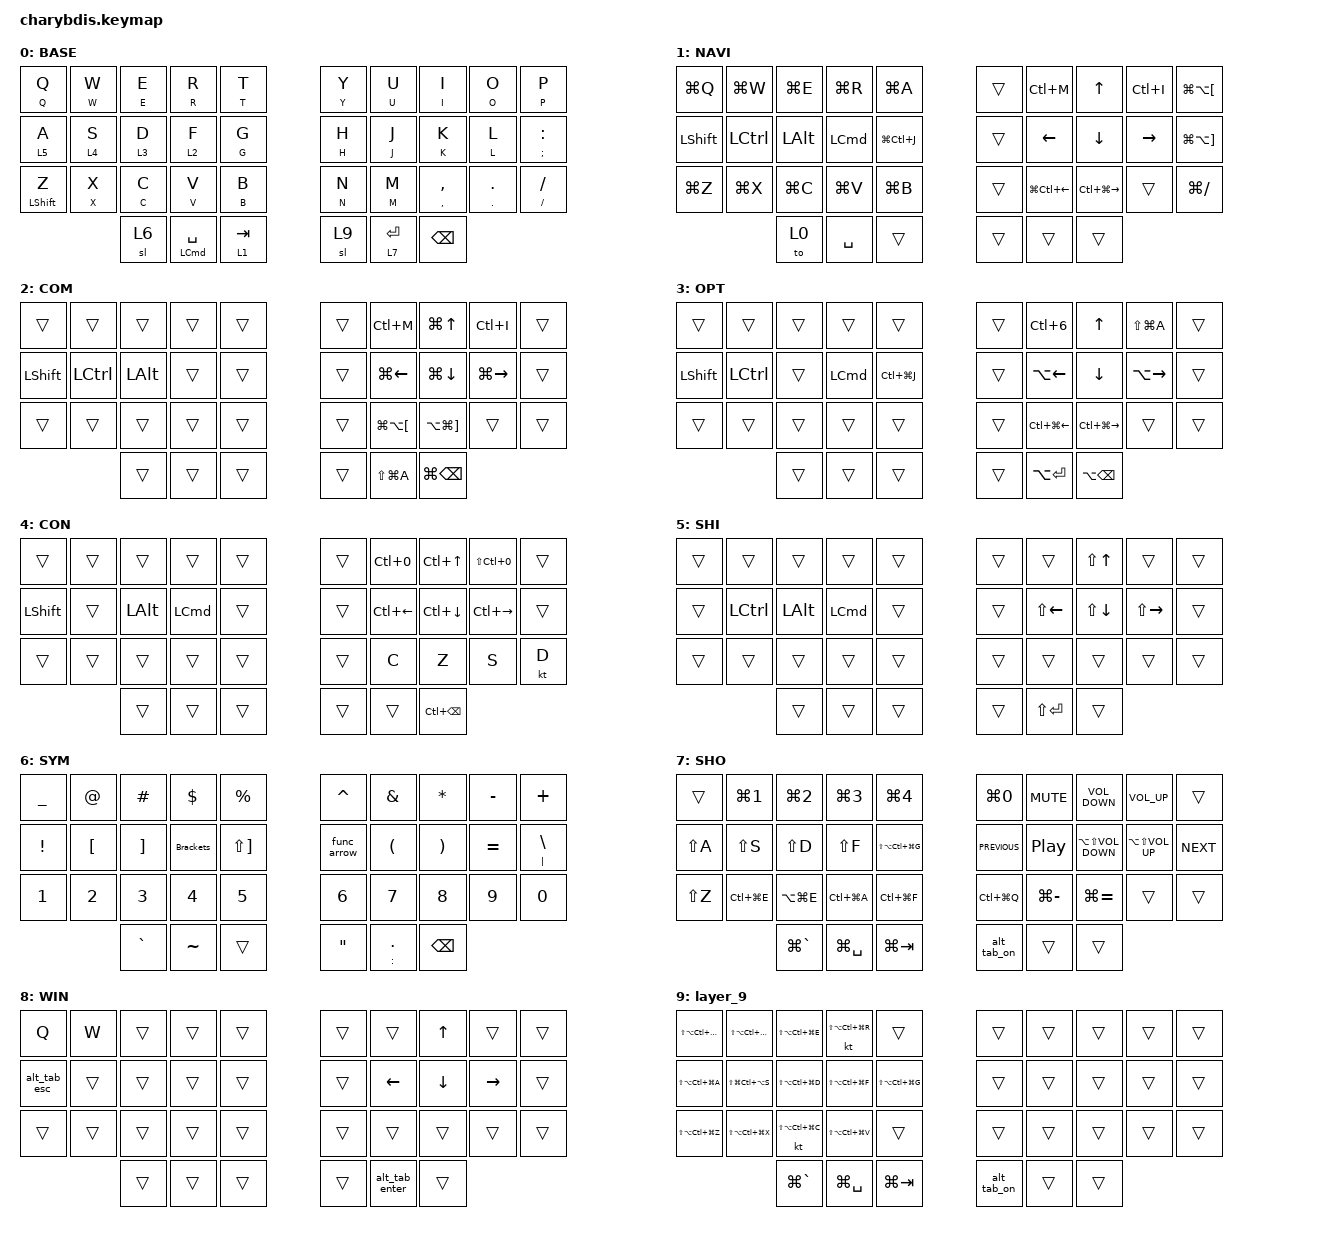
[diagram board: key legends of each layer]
//
//                                                        ▀▀▀▀▀     ▀▀▀▀▀          ▀▀█▀▀
//                                                        ▄▀▀▀▄  ▄  ▄▀▀▀▄  ▄  ▄▀▀▀▄  █  ▄▀▀▀▄
//                                                        █   █  █  █   █  █  █   █  █  █   █
//                                                         ▀▀▀   █   ▀▀▀   █   ▀▀▀   ▀   ▀▀▀
//                                                               █      ▄▄▄█▄▄▄    █   █
//                                                               ▀      █  █  █     █▄█
//                                                             ▀▀▀▀▀    █  █  █      ▀
//                                                                      ▀  ▀  ▀
//
// ▄▄▄▄▄▄▄▄▄▄▄▄▄▄▄▄▄▄▄▄▄▄▄▄▄▄▄▄▄▄▄▄▄▄▄▄▄▄▄▄▄▄▄▄▄▄▄▄▄▄▄▄▄▄▄▄▄▄▄▄▄▄▄▄▄▄▄▄▄▄▄▄▄▄▄▄▄▄▄▄▄▄▄▄▄▄▄▄▄▄▄▄▄▄▄▄▄▄▄▄▄▄▄▄▄▄▄▄▄▄▄▄▄▄▄▄▄▄▄▄▄▄▄▄▄▄▄▄▄▄▄▄▄▄▄▄▄▄▄▄▄▄▄▄▄▄▄▄▄

#include <behaviors.dtsi>
#include <dt-bindings/zmk/keys.h>

#define BASE 0
#define NAV  1
#define COM  2
#define OPT  3
#define CON  4
#define SHI  5
#define SYM  6
#define SHO  7
#define WIN  8

&mt {
    quick-tap-ms = <100>;
    global-quick-tap;
    flavor = "tap-preferred";
    tapping-term-ms = <170>;
};

/ {
    chosen { zmk,matrix_transform = &five_column_transform; };
};

/*                KEY POSITIONS for combos

  ╭────────────────────╮ ╭────────────────────╮
  │  0   1   2   3   4 │ │  5   6   7   8   9 │
  │ 10  11  12  13  14 │ │ 15  16  17  18  19 │
  │ 20  21  22  23  24 │ │ 25  26  27  28  29 │
  ╰───────╮ 30  31  32 │ │ 33  34  35 ╭───────╯
          ╰────────────╯ ╰────────────╯            */

/ {
    combos {
        compatible = "zmk,combos";

        caps {
            bindings = <&caps_word>;
            key-positions = <27 28>;
            layers = <0>;
        };

        to_nav_layer {
            bindings = <&to 1>;
            key-positions = <16 17>;
            layers = <0>;
        };

        Escape {
            bindings = <&kp ESCAPE>;
            key-positions = <12 11>;
        };

        Quote {
            bindings = <&kp SQT>;
            key-positions = <19 18>;
        };
    };

    macros {
        shift: shift {
            compatible = "zmk,behavior-macro-one-param";
            #binding-cells = <1>;
            bindings =
                <&macro_press>,
                <&kp LEFT_SHIFT>,
                <&macro_tap>,
                <&macro_param_1to1 &kp MACRO_PLACEHOLDER>,
                <&macro_release>,
                <&kp LEFT_SHIFT>;

            label = "SHIFT";
        };

        Brackets: Brackets {
            compatible = "zmk,behavior-macro";
            #binding-cells = <0>;
            bindings = <&kp LS(LEFT_BRACKET) &kp SPACE &kp SPACE &kp LS(RIGHT_BRACKET) &kp LEFT &kp LEFT>;
            label = "BRACKETS";
        };

        func_arrow: func_arrow {
            compatible = "zmk,behavior-macro";
            #binding-cells = <0>;
            bindings = <&kp MINUS &kp GT &kp SPACE>;
            label = "FUNC_ARROW";
        };

        alt_tab_on: alt_tab {
            compatible = "zmk,behavior-macro";
            #binding-cells = <0>;
            bindings = <&kt LEFT_COMMAND &kp TAB &to 8>;
            label = "ALT_TAB";
        };

        alt_tab_enter: alt_tab_off {
            compatible = "zmk,behavior-macro";
            #binding-cells = <0>;
            bindings = <&kt LEFT_COMMAND &to 0>;
            label = "ALT_TAB_OFF";
        };

        alt_tab_esc: alt_tab_esc {
            compatible = "zmk,behavior-macro";
            #binding-cells = <0>;
            bindings = <&kp ESC &kt LEFT_COMMAND &to 0>;
            label = "ALT_TAB_ESC";
        };
    };

    behaviors {
        as_ht: autoshift_hold_tap {
            compatible = "zmk,behavior-hold-tap";
            label = "AUTOSHIFT_HOLD_TAP";
            bindings = <&shift>, <&kp>;

            #binding-cells = <2>;
            tapping-term-ms = <190>;
            flavor = "tap-preferred";
        };
    };

    keymap {
        compatible = "zmk,keymap";

        // ▄▄▄▄▄▄▄▄▄▄▄▄▄▄▄▄▄▄▄▄▄▄▄▄▄▄▄▄▄▄▄▄▄▄▄▄▄▄▄▄▄▄▄▄▄▄▄▄▄▄▄▄▄▄▄▄▄▄▄▄▄▄▄▄▄▄▄▄▄▄▄▄▄▄▄▄▄▄▄▄▄▄▄▄▄▄▄▄▄▄▄▄▄▄▄▄▄▄▄▄▄▄▄▄▄▄▄▄▄▄▄▄▄▄▄▄▄▄▄▄▄▄▄▄▄▄▄▄▄▄▄▄▄▄▄▄▄▄▄▄▄▄▄▄▄▄▄▄▄

        base_layer {
            label = "BASE";

            //             ┏━━━━━━━━━━━┳━━━━━━━━━━━┳━━━━━━━━━━━┳━━━━━━━━━━━┳━━━━━━━━━━━┓   ┏━━━━━━━━━━━┳━━━━━━━━━━━┳━━━━━━━━━━━┳━━━━━━━━━━━┳━━━━━━━━━━━┓
            //             ┃     Q     ┃     W     ┃     E     ┃     R     ┃     T     ┃   ┃     Y     ┃     U     ┃     I     ┃     O     ┃     P     ┃
            //             ┣━━━━━━━━━━━╋━━━━━━━━━━━╋━━━━━━━━━━━╋━━━━━━━━━━━╋━━━━━━━━━━━┫   ┣━━━━━━━━━━━╋━━━━━━━━━━━╋━━━━━━━━━━━╋━━━━━━━━━━━╋━━━━━━━━━━━┫
            //             ┃     A     ┃     S     ┃     D     ┃     F     ┃     G     ┃   ┃     H     ┃     J     ┃     K     ┃     L     ┃     ;     ┃
            //             ┣━━━━━━━━━━━╋━━━━━━━━━━━╋━━━━━━━━━━━╋━━━━━━━━━━━╋━━━━━━━━━━━┫   ┣━━━━━━━━━━━╋━━━━━━━━━━━╋━━━━━━━━━━━╋━━━━━━━━━━━╋━━━━━━━━━━━┫
            //             ┃     Z     ┃     X     ┃     C     ┃     V     ┃     B     ┃   ┃     N     ┃     M     ┃     ,     ┃     .     ┃     /     ┃
            //             ┗━━━━━━━━━━━┻━━━━━━━━━━━╋━━━━━━━━━━━╋━━━━━━━━━━━╋━━━━━━━━━━━┫   ┣━━━━━━━━━━━╋━━━━━━━━━━━╋━━━━━━━━━━━╋━━━━━━━━━━━┻━━━━━━━━━━━┛
            //                                     ┃    SYM    ┃    SPC    ┃    TAB    ┃   ┃    SHO    ┃   ENTER   ┃   BSPC    ┃
            //                                     ┗━━━━━━━━━━━┻━━━━━━━━━━━┻━━━━━━━━━━━┛   ┗━━━━━━━━━━━┻━━━━━━━━━━━┻━━━━━━━━━━━┛

            bindings = <
&as_ht Q Q        &as_ht W W              &as_ht E E  &as_ht R R  &as_ht T T   &as_ht Y Y  &as_ht U U  &as_ht I I          &as_ht O O      &as_ht P P
&lt 5 A           &lt 4 S                 &lt 3 D     &lt 2 F     &as_ht G G   &as_ht H H  &as_ht J J  &as_ht K K          &as_ht L L      &mt SEMICOLON COLON
&mt LEFT_SHIFT Z  &as_ht X X              &as_ht C C  &as_ht V V  &as_ht B B   &as_ht N N  &as_ht M M  &as_ht COMMA COMMA  &as_ht DOT DOT  &as_ht FSLH FSLH
&sl 6             &mt LEFT_COMMAND SPACE  &lt 1 TAB   &sl 9       &lt 7 ENTER  &kp BSPC
            >;
        };

        // ▄▄▄▄▄▄▄▄▄▄▄▄▄▄▄▄▄▄▄▄▄▄▄▄▄▄▄▄▄▄▄▄▄▄▄▄▄▄▄▄▄▄▄▄▄▄▄▄▄▄▄▄▄▄▄▄▄▄▄▄▄▄▄▄▄▄▄▄▄▄▄▄▄▄▄▄▄▄▄▄▄▄▄▄▄▄▄▄▄▄▄▄▄▄▄▄▄▄▄▄▄▄▄▄▄▄▄▄▄▄▄▄▄▄▄▄▄▄▄▄▄▄▄▄▄▄▄▄▄▄▄▄▄▄▄▄▄▄▄▄▄▄▄▄▄▄▄▄▄

        nav_layer {
            label = "NAVI";
            bindings = <
&kp LG(Q)  &kp LG(W)         &kp LG(E)     &kp LG(R)         &kp LG(A)      &trans  &kp LC(M)               &kp UP_ARROW       &kp LC(I)  &kp LG(LA(LEFT_BRACKET))
&kp LSHFT  &kp LEFT_CONTROL  &kp LEFT_ALT  &kp LEFT_COMMAND  &kp LG(LC(J))  &trans  &kp LEFT                &kp DOWN           &kp RIGHT  &kp LG(LA(RIGHT_BRACKET))
&kp LG(Z)  &kp LG(X)         &kp LG(C)     &kp LG(V)         &kp LG(B)      &trans  &kp LG(LC(LEFT_ARROW))  &kp LC(LG(RIGHT))  &trans     &kp LG(SLASH)
&to 0      &kp SPACE         &trans        &trans            &trans         &trans
            >;
        };

        // ▄▄▄▄▄▄▄▄▄▄▄▄▄▄▄▄▄▄▄▄▄▄▄▄▄▄▄▄▄▄▄▄▄▄▄▄▄▄▄▄▄▄▄▄▄▄▄▄▄▄▄▄▄▄▄▄▄▄▄▄▄▄▄▄▄▄▄▄▄▄▄▄▄▄▄▄▄▄▄▄▄▄▄▄▄▄▄▄▄▄▄▄▄▄▄▄▄▄▄▄▄▄▄▄▄▄▄▄▄▄▄▄▄▄▄▄▄▄▄▄▄▄▄▄▄▄▄▄▄▄▄▄▄▄▄▄▄▄▄▄▄▄▄▄▄▄▄▄▄

        command_layer {
            label = "COM";
            bindings = <
&trans          &trans            &trans        &trans  &trans         &trans             &kp LC(M)                 &kp LG(UP_ARROW)           &kp LC(I)      &trans
&kp LEFT_SHIFT  &kp LEFT_CONTROL  &kp LEFT_ALT  &trans  &trans         &trans             &kp LG(LEFT)              &kp LG(DOWN)               &kp LG(RIGHT)  &trans
&trans          &trans            &trans        &trans  &trans         &trans             &kp LG(LA(LEFT_BRACKET))  &kp LA(LG(RIGHT_BRACKET))  &trans         &trans
&trans          &trans            &trans        &trans  &kp LS(LG(A))  &kp LG(BACKSPACE)
            >;
        };

        // ▄▄▄▄▄▄▄▄▄▄▄▄▄▄▄▄▄▄▄▄▄▄▄▄▄▄▄▄▄▄▄▄▄▄▄▄▄▄▄▄▄▄▄▄▄▄▄▄▄▄▄▄▄▄▄▄▄▄▄▄▄▄▄▄▄▄▄▄▄▄▄▄▄▄▄▄▄▄▄▄▄▄▄▄▄▄▄▄▄▄▄▄▄▄▄▄▄▄▄▄▄▄▄▄▄▄▄▄▄▄▄▄▄▄▄▄▄▄▄▄▄▄▄▄▄▄▄▄▄▄▄▄▄▄▄▄▄▄▄▄▄▄▄▄▄▄▄▄▄

        option_layer {
            label = "OPT";
            bindings = <
&trans          &trans            &trans  &trans            &trans         &trans             &kp LC(NUMBER_6)    &kp UP_ARROW       &kp LS(LG(A))  &trans
&kp LEFT_SHIFT  &kp LEFT_CONTROL  &trans  &kp LEFT_COMMAND  &kp LC(LG(J))  &trans             &kp LA(LEFT_ARROW)  &kp DOWN           &kp LA(RIGHT)  &trans
&trans          &trans            &trans  &trans            &trans         &trans             &kp LC(LG(LEFT))    &kp LC(LG(RIGHT))  &trans         &trans
&trans          &trans            &trans  &trans            &kp LA(ENTER)  &kp LA(BACKSPACE)
            >;
        };

        control_layer {
            label = "CON";
            bindings = <
&trans          &trans  &trans        &trans            &trans  &trans             &kp LC(N0)    &kp LC(UP_ARROW)    &kp LS(LC(N0))  &trans
&kp LEFT_SHIFT  &trans  &kp LEFT_ALT  &kp LEFT_COMMAND  &trans  &trans             &kp LC(LEFT)  &kp LC(DOWN_ARROW)  &kp LC(RIGHT)   &trans
&trans          &trans  &trans        &trans            &trans  &trans             &kp C         &kp Z               &kp S           &kt D
&trans          &trans  &trans        &trans            &trans  &kp LC(BACKSPACE)
            >;
        };

        shift_layer {
            label = "SHI";
            bindings = <
&trans  &trans            &trans        &trans            &trans         &trans  &trans        &kp LS(UP_ARROW)    &trans         &trans
&trans  &kp LEFT_CONTROL  &kp LEFT_ALT  &kp LEFT_COMMAND  &trans         &trans  &kp LS(LEFT)  &kp LS(DOWN_ARROW)  &kp LS(RIGHT)  &trans
&trans  &trans            &trans        &trans            &trans         &trans  &trans        &trans              &trans         &trans
&trans  &trans            &trans        &trans            &kp LS(ENTER)  &trans
            >;
        };

        symbol_layer {
            label = "SYM";
            bindings = <
&kp UNDERSCORE  &kp AT            &kp HASH           &kp DOLLAR         &kp PERCENT            &kp CARET      &kp AMPERSAND         &kp ASTERISK           &kp MINUS  &kp PLUS
&kp EXCL        &kp LEFT_BRACKET  &kp RIGHT_BRACKET  &Brackets          &kp LS(RIGHT_BRACKET)  &func_arrow    &kp LEFT_PARENTHESIS  &kp RIGHT_PARENTHESIS  &kp EQUAL  &mt PIPE BACKSLASH
&kp NUMBER_1    &kp NUMBER_2      &kp NUMBER_3       &kp NUMBER_4       &kp NUMBER_5           &kp NUMBER_6   &kp N7                &kp N8                 &kp N9     &kp N0
&kp GRAVE       &kp TILDE         &trans             &kp DOUBLE_QUOTES  &as_ht COLON PERIOD    &kp BACKSPACE
            >;
        };

        shortcut_layer {
            label = "SHO";
            bindings = <
&trans         &kp LG(NUMBER_1)  &kp LG(NUMBER_2)  &kp LG(NUMBER_3)  &kp LG(NUMBER_4)       &kp LG(N0)      &kp K_MUTE        &kp C_VOLUME_DOWN          &kp C_VOLUME_UP          &trans
&kp LS(A)      &kp LS(S)         &kp LS(D)         &kp LS(F)         &kp LS(LA(LC(LG(G))))  &kp C_PREVIOUS  &kp C_PLAY_PAUSE  &kp LA(LS(C_VOLUME_DOWN))  &kp LA(LS(C_VOLUME_UP))  &kp C_NEXT
&kp LS(Z)      &kp LC(LG(E))     &kp LA(LG(E))     &kp LC(LG(A))     &kp LC(LG(F))          &kp LC(LG(Q))   &kp LG(MINUS)     &kp LG(EQUAL)              &trans                   &trans
&kp LG(GRAVE)  &kp LG(SPACE)     &kp LG(TAB)       &alt_tab_on       &trans                 &trans
            >;
        };

        window_layer {
            label = "WIN";
            bindings = <
&kp Q         &kp W   &trans  &trans  &trans          &trans  &trans    &kp UP_ARROW    &trans     &trans
&alt_tab_esc  &trans  &trans  &trans  &trans          &trans  &kp LEFT  &kp DOWN_ARROW  &kp RIGHT  &trans
&trans        &trans  &trans  &trans  &trans          &trans  &trans    &trans          &trans     &trans
&trans        &trans  &trans  &trans  &alt_tab_enter  &trans
            >;
        };

        layer_9 {
            bindings = <
&kp LS(LA(LC(LG(Q))))  &kp LS(LA(LC(LG(W))))  &kp LS(LA(LC(LG(E))))  &kt LS(LA(LC(LG(R))))  &trans                 &trans  &trans  &trans  &trans  &trans
&kp LS(LA(LC(LG(A))))  &kp LS(LG(LC(LA(S))))  &kp LS(LA(LC(LG(D))))  &kp LS(LA(LC(LG(F))))  &kp LS(LA(LC(LG(G))))  &trans  &trans  &trans  &trans  &trans
&kp LS(LA(LC(LG(Z))))  &kp LS(LA(LC(LG(X))))  &kt LS(LA(LC(LG(C))))  &kp LS(LA(LC(LG(V))))  &trans                 &trans  &trans  &trans  &trans  &trans
&kp LG(GRAVE)          &kp LG(SPACE)          &kp LG(TAB)            &alt_tab_on            &trans                 &trans
            >;
        };
    };
};
